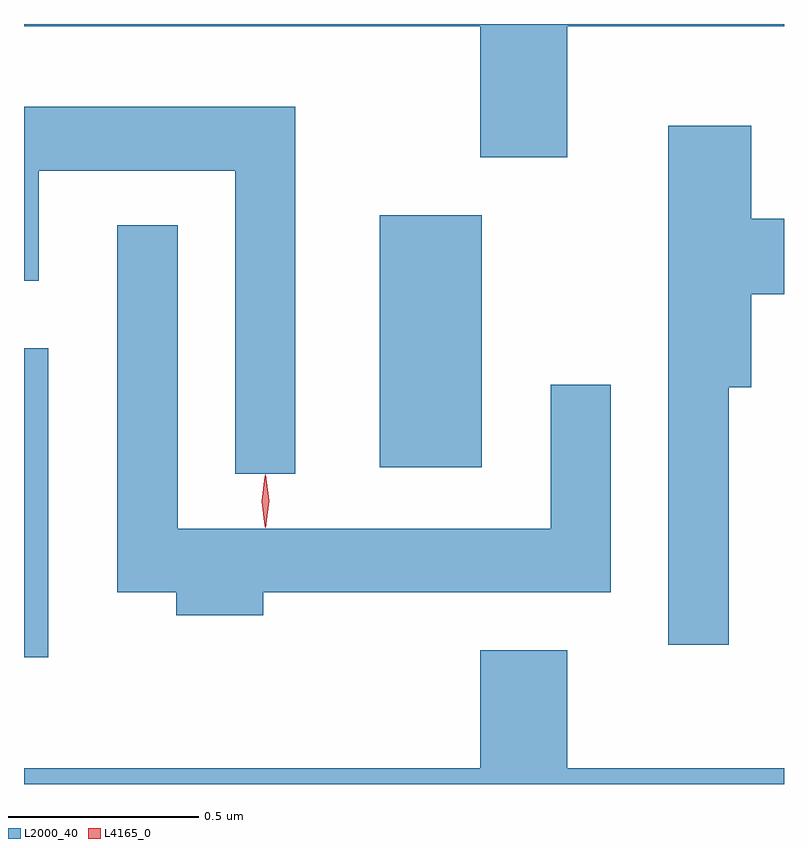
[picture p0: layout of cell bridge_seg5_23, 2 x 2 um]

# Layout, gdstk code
import gdstk
lib = gdstk.Library(unit=1e-6, precision=1e-09)
def R(c, l, rs):  # rectangles x0, y0, x1, y1
    for r in rs: c.add(gdstk.rectangle(r[:2], r[2:], *l))
def P(c, l, *ps):  # polygons
    for p in ps: c.add(gdstk.Polygon(p, *l))
L2000_40 = (2000, 40)
L4165_0 = (4165, 0)

bridge_seg5_23 = lib.new_cell('bridge_seg5_23')
R(bridge_seg5_23, L2000_40, [(1239.59,1477.336,1239.654,1478.149), (1240.526,1477.836,1240.794,1478.499)])
P(bridge_seg5_23, L2000_40, [(1241.019,1478.996),(1241.59,1478.996),(1241.59,1479.002),(1239.59,1479.002),(1239.59,1478.996),(1240.791,1478.996),(1240.791,1478.651),(1241.019,1478.651)],
  [(1240.304,1478.784),(1239.59,1478.784),(1239.59,1478.326),(1239.629,1478.326),(1239.629,1478.616),(1240.146,1478.616),(1240.146,1477.818),(1240.304,1477.818)],
  [(1241.444,1478.046),(1241.504,1478.046),(1241.504,1478.291),(1241.59,1478.291),(1241.59,1478.489),(1241.504,1478.489),(1241.504,1478.734),(1241.286,1478.734),(1241.286,1477.368),(1241.444,1477.368)],
  [(1240.219,1477.506),(1241.134,1477.506),(1241.134,1478.053),(1240.976,1478.053),(1240.976,1477.674),(1239.994,1477.674),(1239.994,1478.473),(1239.836,1478.473),(1239.836,1477.506),(1239.991,1477.506),(1239.991,1477.446),(1240.219,1477.446)],
  [(1241.59,1477.044),(1241.019,1477.044),(1241.019,1477.354),(1240.791,1477.354),(1240.791,1477.044),(1239.59,1477.044),(1239.59,1477.002),(1241.59,1477.002)])
P(bridge_seg5_23, L4165_0, [(1240.225,1477.677),(1240.225,1477.677),(1240.215,1477.747),(1240.225,1477.816),(1240.225,1477.816),(1240.226,1477.816),(1240.235,1477.747),(1240.226,1477.677)],
  [(1240.225,1477.679),(1240.224,1477.68),(1240.215,1477.746),(1240.224,1477.812),(1240.225,1477.813),(1240.225,1477.812),(1240.235,1477.746),(1240.225,1477.68)])

lib.write_gds('bridge_seg5_23.gds')
